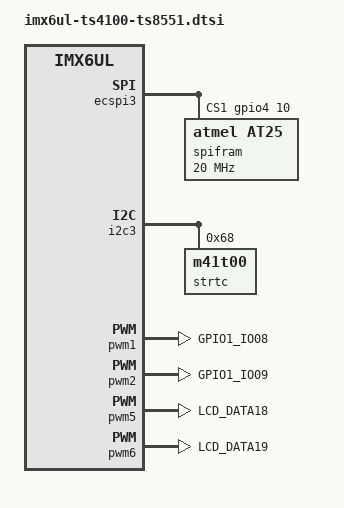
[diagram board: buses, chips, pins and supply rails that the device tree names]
/*
 * Copyright (C) 2018 Technologic Systems
 *
 * This program is free software; you can redistribute it and/or modify
 * it under the terms of the GNU General Public License version 2 as
 * published by the Free Software Foundation.
 */

#include <dt-bindings/input/input.h>

/* Requires more CS GPIO and updated pinctrl? */
&ecspi3 {
	fsl,spi-num-chipselects = <2>;
	cs-gpios = <&gpio4 12 0>, <&gpio4 10 0>;
	pinctrl-names = "default";
	pinctrl-0 = <&pinctrl_ecspi3>;
	status = "okay";

        spifram: spi@1 {
                compatible = "atmel,at25", "cypress,fm25l16b";
                reg = <1>;
                spi-max-frequency = <20000000>;
                size = <0x800>;
                address-width = <16>;
                pagesize = <64>;
        };

};

&flexcan2 {
	status = "disabled";
};

&i2c3 {
	strtc: m41t00s@68 {
		compatible = "m41t00";
		reg = <0x68>;
	};
};

&snvs_rtc {
	status = "disabled";
};

&snvs_poweroff {
	status = "disabled";
};

&uart4 { /* Append support for TXEN to pinctrl */
	pinctrl-10 = <&pinctrl_8551txen>;
	fsl,uart-has-rtscts;
	fsl,uart-tx-enable-gpios = <&gpio1 19 GPIO_ACTIVE_HIGH>;
	linux,rs485-enabled-at-boot-time;
};

&pwm1 {
	pinctrl-names = "default";
	pinctrl-0 = <&pinctrl_pwm1>;
};

&pwm2 {
	pinctrl-names = "default";
	pinctrl-0 = <&pinctrl_pwm2>;
};

&pwm5 {
	pinctrl-names = "default";
	pinctrl-0 = <&pinctrl_pwm5>;
};

&pwm6 {
	pinctrl-names = "default";
	pinctrl-0 = <&pinctrl_pwm6>;
};

&iomuxc {
	pinctrl-names = "default";
	imx6ul-ts4100 {
		pinctrl_8551txen: ts8551txen {
			fsl,pins = <
				MX6UL_PAD_UART1_RTS_B__GPIO1_IO19  0x1b020
			>;
		};

		pinctrl_pwm1: ts8551pwm1 {
			fsl,pins = <
				MX6UL_PAD_GPIO1_IO08__PWM1_OUT  0x13020
			>;
		};
		pinctrl_pwm2: ts8551pwm2 {
			fsl,pins = <
				MX6UL_PAD_GPIO1_IO09__PWM2_OUT  0x13020
			>;
		};
		pinctrl_pwm5: ts8551pwm5 {
			fsl,pins = <
				MX6UL_PAD_LCD_DATA18__PWM5_OUT  0x13020
			>;
		};
		pinctrl_pwm6: ts8551pwm6 {
			fsl,pins = <
				MX6UL_PAD_LCD_DATA19__PWM6_OUT  0x13020
			>;
		};
	};
};
